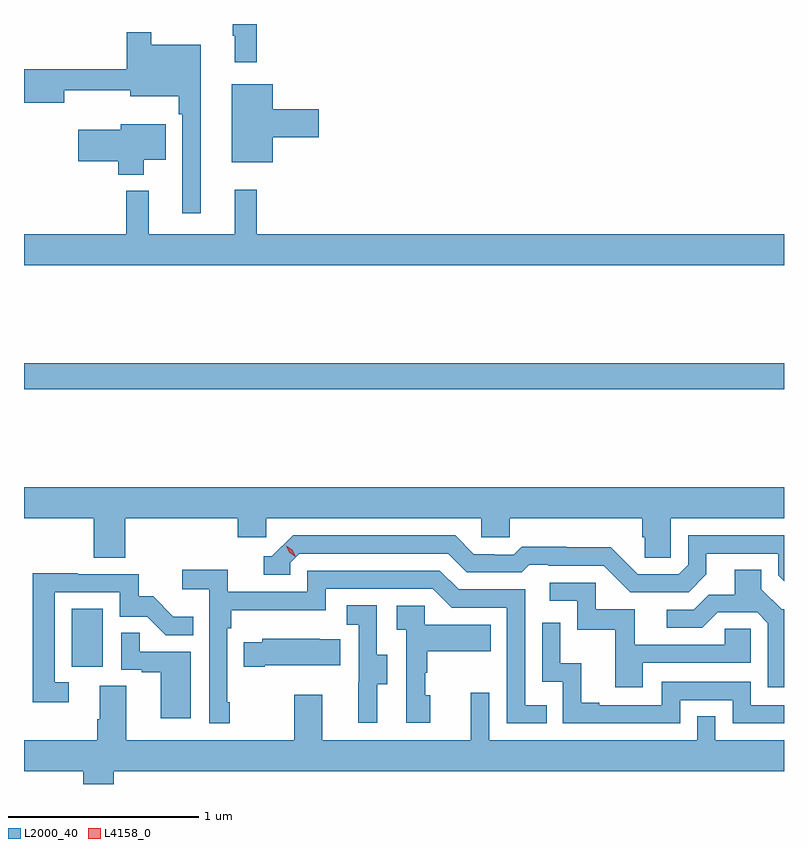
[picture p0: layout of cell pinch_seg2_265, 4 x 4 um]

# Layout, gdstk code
import gdstk
lib = gdstk.Library(unit=1e-6, precision=1e-09)
def R(c, l, rs):  # rectangles x0, y0, x1, y1
    for r in rs: c.add(gdstk.rectangle(r[:2], r[2:], *l))
def P(c, l, *ps):  # polygons
    for p in ps: c.add(gdstk.Polygon(p, *l))
L2000_40 = (2000, 40)
L4158_0 = (4158, 0)

pinch_seg2_265 = lib.new_cell('pinch_seg2_265')
R(pinch_seg2_265, L2000_40, [(901.472,660.174,901.636,660.481), (901.221,661.636,905.221,661.772)])
P(pinch_seg2_265, L2000_40, [(902.447,663.558),(902.319,663.558),(902.319,663.497),(902.33,663.497),(902.33,663.357),(902.447,663.357)],
  [(902.152,663.448),(901.891,663.448),(901.891,663.514),(901.762,663.514),(901.762,663.319),(901.221,663.319),(901.221,663.143),(901.432,663.143),(901.432,663.209),(901.781,663.209),(901.781,663.179),(902.035,663.179),(902.035,663.083),(902.055,663.083),(902.055,662.562),(902.152,662.562)],
  [(902.53,662.963),(902.773,662.963),(902.773,663.11),(902.53,663.11),(902.53,663.241),(902.315,663.241),(902.315,662.831),(902.53,662.831)],
  [(901.852,662.843),(901.966,662.843),(901.966,663.031),(901.73,663.031),(901.73,663.001),(901.506,663.001),(901.506,662.836),(901.718,662.836),(901.718,662.765),(901.852,662.765)],
  [(905.221,662.452),(902.447,662.452),(902.447,662.686),(902.33,662.686),(902.33,662.452),(901.877,662.452),(901.877,662.68),(901.759,662.68),(901.759,662.452),(901.221,662.452),(901.221,662.288),(905.221,662.288)],
  [(901.754,660.956),(902.345,660.956),(902.345,660.858),(902.496,660.858),(902.496,660.956),(903.627,660.956),(903.627,660.858),(903.777,660.858),(903.777,660.956),(904.475,660.956),(904.475,660.858),(904.489,660.858),(904.489,660.748),(904.626,660.748),(904.626,660.956),(905.221,660.956),(905.221,661.12),(901.221,661.12),(901.221,660.956),(901.589,660.956),(901.589,660.748),(901.754,660.748)],
  [(904.813,660.661),(904.813,660.771),(905.19,660.771),(905.19,660.657),(905.221,660.626),(905.221,660.867),(904.716,660.867),(904.716,660.711),(904.668,660.663),(904.452,660.663),(904.31,660.805),(904.074,660.805),(904.074,660.808),(903.841,660.808),(903.799,660.765),(903.696,660.765),(903.696,660.768),(903.589,660.768),(903.49,660.867),(902.637,660.867),(902.526,660.756),(902.483,660.756),(902.483,660.66),(902.622,660.66),(902.622,660.723),(902.67,660.771),(903.453,660.771),(903.552,660.672),(903.841,660.672),(903.88,660.711),(903.979,660.711),(903.979,660.708),(904.272,660.708),(904.413,660.567),(904.719,660.567)],
  [(902.305,659.989),(902.292,659.989),(902.292,660.377),(902.312,660.377),(902.312,660.473),(902.808,660.473),(902.808,660.585),(903.372,660.585),(903.471,660.486),(903.762,660.486),(903.762,659.877),(903.971,659.877),(903.971,659.973),(903.858,659.973),(903.858,660.582),(903.508,660.582),(903.409,660.681),(902.712,660.681),(902.712,660.57),(902.294,660.57),(902.294,660.686),(902.055,660.686),(902.055,660.584),(902.196,660.584),(902.196,659.877),(902.305,659.877)],
  [(905.221,660.477),(905.208,660.477),(905.101,660.584),(905.101,660.686),(904.961,660.686),(904.961,660.554),(904.826,660.554),(904.746,660.474),(904.605,660.474),(904.605,660.381),(904.792,660.381),(904.873,660.462),(905.079,660.462),(905.136,660.405),(905.136,660.066),(905.221,660.066)],
  [(901.456,660.093),(901.383,660.093),(901.383,660.567),(901.725,660.567),(901.725,660.438),(901.869,660.438),(901.967,660.34),(902.111,660.34),(902.111,660.439),(902.007,660.439),(901.9,660.546),(901.824,660.546),(901.824,660.663),(901.505,660.663),(901.505,660.668),(901.267,660.668),(901.267,659.988),(901.456,659.988)],
  [(904.477,660.195),(905.046,660.195),(905.046,660.375),(904.909,660.375),(904.909,660.291),(904.435,660.291),(904.435,660.477),(904.23,660.477),(904.23,660.618),(903.987,660.618),(903.987,660.522),(904.134,660.522),(904.134,660.369),(904.333,660.369),(904.333,660.066),(904.477,660.066)],
  [(903.079,660.082),(903.133,660.082),(903.133,660.237),(903.078,660.237),(903.078,660.5),(902.919,660.5),(902.919,660.397),(902.982,660.397),(902.982,660.093),(902.981,660.093),(902.981,659.88),(903.079,659.88)],
  [(903.358,660.024),(903.333,660.024),(903.333,660.143),(903.343,660.143),(903.343,660.257),(903.677,660.257),(903.677,660.397),(903.33,660.397),(903.33,660.495),(903.183,660.495),(903.183,660.371),(903.234,660.371),(903.234,659.88),(903.358,659.88)],
  [(904.674,660),(904.95,660),(904.95,659.877),(905.221,659.877),(905.221,659.973),(905.046,659.973),(905.046,660.096),(904.578,660.096),(904.578,659.973),(904.249,659.973),(904.249,659.986),(904.154,659.986),(904.154,660.194),(904.044,660.194),(904.044,660.406),(903.948,660.406),(903.948,660.096),(904.056,660.096),(904.056,659.877),(904.674,659.877)],
  [(902.098,660.255),(901.829,660.255),(901.829,660.353),(901.734,660.353),(901.734,660.159),(901.841,660.159),(901.841,660.147),(901.94,660.147),(901.94,659.904),(902.098,659.904)],
  [(902.488,660.182),(902.885,660.182),(902.885,660.319),(902.777,660.319),(902.777,660.322),(902.475,660.322),(902.475,660.304),(902.377,660.304),(902.377,660.175),(902.488,660.175)],
  [(901.694,659.624),(905.221,659.624),(905.221,659.788),(904.86,659.788),(904.86,659.915),(904.764,659.915),(904.764,659.788),(903.669,659.788),(903.669,660.037),(903.572,660.037),(903.572,659.788),(902.791,659.788),(902.791,660.028),(902.644,660.028),(902.644,659.788),(901.759,659.788),(901.759,660.074),(901.619,660.074),(901.619,659.9),(901.607,659.9),(901.607,659.788),(901.221,659.788),(901.221,659.624),(901.534,659.624),(901.534,659.558),(901.694,659.558)])
P(pinch_seg2_265, L4158_0, [(902.647,660.758),(902.617,660.778),(902.601,660.811),(902.601,660.811),(902.601,660.811),(902.632,660.791),(902.648,660.759),(902.648,660.758)])

lib.write_gds('pinch_seg2_265.gds')
